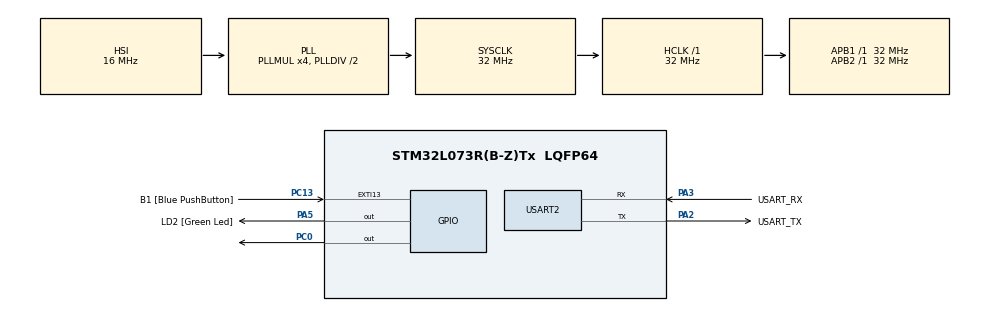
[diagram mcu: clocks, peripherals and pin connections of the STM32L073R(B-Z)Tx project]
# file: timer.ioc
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Mcu.Family=STM32L0
Mcu.Name=STM32L073R(B-Z)Tx
Mcu.Package=LQFP64
NVIC.EXTI4_15_IRQn=true\:0\:0\:false\:false\:true\:true\:true
NVIC.TIM2_IRQn=true\:0\:0\:false\:false\:true\:true\:true
NVIC.TIM3_IRQn=true\:0\:0\:false\:false\:true\:true\:true
PA13.GPIO_Label=TMS
PA13.Mode=Serial_Wire
PA13.Signal=SYS_SWDIO
PA14.GPIO_Label=TCK
PA14.Mode=Serial_Wire
PA14.Signal=SYS_SWCLK
PA2.GPIO_Label=USART_TX
PA2.Mode=Asynchronous
PA2.Signal=USART2_TX
PA3.GPIO_Label=USART_RX
PA3.Mode=Asynchronous
PA3.Signal=USART2_RX
PA5.GPIO_Label=LD2 [Green Led]
PA5.GPIO_PuPd=GPIO_NOPULL
PA5.PinState=GPIO_PIN_RESET
PA5.Signal=GPIO_Output
PC0.PinState=GPIO_PIN_RESET
PC0.Signal=GPIO_Output
PC13.GPIO_Label=B1 [Blue PushButton]
PC13.GPIO_ModeDefaultEXTI=GPIO_MODE_IT_FALLING
PC13.Signal=GPXTI13
PC14-OSC32_IN.Mode=LSE-External-Oscillator
PC14-OSC32_IN.Signal=RCC_OSC32_IN
PC15-OSC32_OUT.Mode=LSE-External-Oscillator
PC15-OSC32_OUT.Signal=RCC_OSC32_OUT
PH0-OSC_IN.GPIO_Label=MCO
PH0-OSC_IN.Mode=HSE-External-Clock-Source
PH0-OSC_IN.Signal=RCC_OSC_IN
ProjectManager.HeapSize=0x200
ProjectManager.StackSize=0x400
ProjectManager.TargetToolchain=STM32CubeIDE
RCC.AHBFreq_Value=32000000
RCC.APB1Freq_Value=32000000
RCC.APB1TimFreq_Value=32000000
RCC.APB2Freq_Value=32000000
RCC.APB2TimFreq_Value=32000000
RCC.HCLKFreq_Value=32000000
RCC.HSE_VALUE=8000000
RCC.HSI16_VALUE=16000000
RCC.HSI48_VALUE=48000000
RCC.HSI_VALUE=16000000
RCC.MSI_VALUE=2097000
RCC.PLLMUL=RCC_PLLMUL_4
RCC.SYSCLKFreq_VALUE=32000000
RCC.SYSCLKSource=RCC_SYSCLKSOURCE_PLLCLK
RCC.TimPrescaler=SYSTICK_CLKSOURCE_HCLK_DIV8
RCC.VCOOutputFreq_Value=64000000
TIM2.Period=1999
TIM2.Prescaler=31999
TIM2.TIM_MasterOutputTrigger=TIM_TRGO_RESET
TIM3.Period=29999
TIM3.Prescaler=63999
USART2.VirtualMode-Asynchronous=VM_ASYNC
VP_TIM2_VS_ClockSourceINT.Mode=Internal
VP_TIM3_VS_ClockSourceINT.Mode=Internal
board=NUCLEO-L073RZ

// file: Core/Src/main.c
/* USER CODE BEGIN Header */
/**
  ******************************************************************************
  * @file           : main.c
  * @brief          : Main program body
  ******************************************************************************
  * @attention
  *
  * <h2><center>&copy; Copyright (c) 2020 STMicroelectronics.
  * All rights reserved.</center></h2>
  *
  * This software component is licensed by ST under BSD 3-Clause license,
  * the "License"; You may not use this file except in compliance with the
  * License. You may obtain a copy of the License at:
  *                        opensource.org/licenses/BSD-3-Clause
  *
  ******************************************************************************
  */
/* USER CODE END Header */

#include "main.h"
#include "math.h"

/* USER CODE BEGIN PTD */
//#define Mode test1
/* USER CODE END PTD */

TIM_HandleTypeDef htim2;
TIM_HandleTypeDef htim3;

UART_HandleTypeDef huart2;

/* USER CODE BEGIN PV */
float Humitide_sol[40] ={100, 95, 82, 69, 66.7, 66.5, 64.5, 63, 62.9, 62.8,\
		62.8, 62.8, 62.8, 62.8, 62.8, 62.7, 62.6, 62.5, 62.4, 62.3,\
		62.2, 62.1, 61.5, 61.4, 60.9, 60.7, 60.3, 60.2, 60.2, 60.3, 60.1,\
		60, 60, 62, 69, 75, 85, 92, 93};

int seuil[3][2] ={ {30, 60},{45, 75},{60, 150} };
int Humitide_begin;
int DH;								//difference of humidity
int p_stade_1;
int p_stade_2;
int p_stade_3;
int p_stade_4;
int time_irri = 5;					// irrigation time: minus
int seuil_1;
int seuil_2;
double real_time_irri;
int sample_1 = 3;
int sample_2 = 4;
int sample_3 = 5;

float Humitide_fin_stade1;
float Humitide_fin_stade2;
float Humitide_fin_stade3;

double y=0;
int x=0;
int Tau=0;
int end=0;
int seuil_90=90;

/**  Global variable  */
int i = 0;
int flag = 0;
int a = 0;						//number of the reference
int seuil_l;
int seuil_h;
int second = 0;
int min = 0;
int cnt = 0;
int cnt2 = 0;
int period;
/* USER CODE END PV */

void SystemClock_Config(void);
static void MX_GPIO_Init(void);
static void MX_USART2_UART_Init(void);
static void MX_TIM2_Init(void);
static void MX_TIM3_Init(void);
/* USER CODE BEGIN PFP */
static void MY_Period_Init(int time_irrigation);
static void MX_TIM2_Init_stade_1(void);
static void MX_TIM2_Init_stade_2(void);
static void MX_TIM2_Init_stade_3(void);
static void MX_TIM2_Init_30s(void);
void irrigation(int seuil_low, int seuil_high);

/* USER CODE END PFP */

int main(void)
{

  /* MCU Configuration--------------------------------------------------------*/

  /* Reset of all peripherals, Initializes the Flash interface and the Systick. */

  HAL_Init();

  /* Configure the system clock */
  SystemClock_Config();

  /* Initialize all configured peripherals */
  MX_GPIO_Init();
  MX_USART2_UART_Init();
  MX_TIM2_Init();
  MX_TIM3_Init();
  /* USER CODE BEGIN 2 */
  MY_Period_Init(time_irri);
  HAL_GPIO_WritePin(GPIOC,GPIO_PIN_0,RESET);
  HAL_GPIO_WritePin(LD2_GPIO_Port, LD2_Pin, RESET);
  MX_TIM2_Init_stade_1();
  TIM2->SR &= ~TIM_SR_UIF;						// clear update interrupt Flag
  TIM3->SR &= ~TIM_SR_UIF;						// clear update interrupt Flag
  HAL_TIM_Base_Start_IT(&htim2);
  HAL_TIM_Base_Start_IT(&htim3);
  HAL_GPIO_WritePin(GPIOC,GPIO_PIN_0,SET);
  /* USER CODE END 2 */

  /* Infinite loop */
  /* USER CODE BEGIN WHILE */
  seuil_l = seuil[a][0];
  seuil_h = seuil[a][1];

//  Humitide_begin = 90;                           // testing
  Humitide_begin = Humitide_sol[i];
  DH = Humitide_begin - seuil_h;				 // 40

  while (1)
  {
    /* USER CODE END WHILE */

    /* USER CODE BEGIN 3 */

	irrigation(seuil_l, seuil_h);

  }
  /* USER CODE END 3 */
}

void SystemClock_Config(void)
{
  RCC_OscInitTypeDef RCC_OscInitStruct = {0};
  RCC_ClkInitTypeDef RCC_ClkInitStruct = {0};
  RCC_PeriphCLKInitTypeDef PeriphClkInit = {0};

  /** Configure the main internal regulator output voltage
  */
  __HAL_PWR_VOLTAGESCALING_CONFIG(PWR_REGULATOR_VOLTAGE_SCALE1);
  /** Initializes the CPU, AHB and APB busses clocks
  */
  RCC_OscInitStruct.OscillatorType = RCC_OSCILLATORTYPE_HSI;
  RCC_OscInitStruct.HSIState = RCC_HSI_ON;
  RCC_OscInitStruct.HSICalibrationValue = RCC_HSICALIBRATION_DEFAULT;
  RCC_OscInitStruct.PLL.PLLState = RCC_PLL_ON;
  RCC_OscInitStruct.PLL.PLLSource = RCC_PLLSOURCE_HSI;
  RCC_OscInitStruct.PLL.PLLMUL = RCC_PLLMUL_4;
  RCC_OscInitStruct.PLL.PLLDIV = RCC_PLLDIV_2;
  if (HAL_RCC_OscConfig(&RCC_OscInitStruct) != HAL_OK)
  {
    Error_Handler();
  }
  /** Initializes the CPU, AHB and APB busses clocks
  */
  RCC_ClkInitStruct.ClockType = RCC_CLOCKTYPE_HCLK|RCC_CLOCKTYPE_SYSCLK
                              |RCC_CLOCKTYPE_PCLK1|RCC_CLOCKTYPE_PCLK2;
  RCC_ClkInitStruct.SYSCLKSource = RCC_SYSCLKSOURCE_PLLCLK;
  RCC_ClkInitStruct.AHBCLKDivider = RCC_SYSCLK_DIV1;
  RCC_ClkInitStruct.APB1CLKDivider = RCC_HCLK_DIV1;
  RCC_ClkInitStruct.APB2CLKDivider = RCC_HCLK_DIV1;

  if (HAL_RCC_ClockConfig(&RCC_ClkInitStruct, FLASH_LATENCY_1) != HAL_OK)
  {
    Error_Handler();
  }
  PeriphClkInit.PeriphClockSelection = RCC_PERIPHCLK_USART2;
  PeriphClkInit.Usart2ClockSelection = RCC_USART2CLKSOURCE_PCLK1;
  if (HAL_RCCEx_PeriphCLKConfig(&PeriphClkInit) != HAL_OK)
  {
    Error_Handler();
  }
}

static void MX_TIM2_Init(void)
{

  TIM_ClockConfigTypeDef sClockSourceConfig = {0};
  TIM_MasterConfigTypeDef sMasterConfig = {0};

  htim2.Instance = TIM2;
  htim2.Init.Prescaler = 31999;
  htim2.Init.CounterMode = TIM_COUNTERMODE_UP;
  htim2.Init.Period = p_stade_4*1000-1;
  htim2.Init.ClockDivision = TIM_CLOCKDIVISION_DIV1;
  htim2.Init.AutoReloadPreload = TIM_AUTORELOAD_PRELOAD_DISABLE;
  if (HAL_TIM_Base_Init(&htim2) != HAL_OK)
  {
    Error_Handler();
  }
  sClockSourceConfig.ClockSource = TIM_CLOCKSOURCE_INTERNAL;
  if (HAL_TIM_ConfigClockSource(&htim2, &sClockSourceConfig) != HAL_OK)
  {
    Error_Handler();
  }
  sMasterConfig.MasterOutputTrigger = TIM_TRGO_RESET;
  sMasterConfig.MasterSlaveMode = TIM_MASTERSLAVEMODE_DISABLE;
  if (HAL_TIMEx_MasterConfigSynchronization(&htim2, &sMasterConfig) != HAL_OK)
  {
    Error_Handler();
  }

}

static void MX_TIM3_Init(void)
{

  TIM_ClockConfigTypeDef sClockSourceConfig = {0};
  TIM_MasterConfigTypeDef sMasterConfig = {0};

  htim3.Instance = TIM3;
  htim3.Init.Prescaler = 63999;
  htim3.Init.CounterMode = TIM_COUNTERMODE_UP;
  htim3.Init.Period = 499;
  htim3.Init.ClockDivision = TIM_CLOCKDIVISION_DIV1;
  htim3.Init.AutoReloadPreload = TIM_AUTORELOAD_PRELOAD_DISABLE;
  if (HAL_TIM_Base_Init(&htim3) != HAL_OK)
  {
    Error_Handler();
  }
  sClockSourceConfig.ClockSource = TIM_CLOCKSOURCE_INTERNAL;
  if (HAL_TIM_ConfigClockSource(&htim3, &sClockSourceConfig) != HAL_OK)
  {
    Error_Handler();
  }
  sMasterConfig.MasterOutputTrigger = TIM_TRGO_RESET;
  sMasterConfig.MasterSlaveMode = TIM_MASTERSLAVEMODE_DISABLE;
  if (HAL_TIMEx_MasterConfigSynchronization(&htim3, &sMasterConfig) != HAL_OK)
  {
    Error_Handler();
  }

}

static void MX_USART2_UART_Init(void)
{

  huart2.Instance = USART2;
  huart2.Init.BaudRate = 115200;
  huart2.Init.WordLength = UART_WORDLENGTH_8B;
  huart2.Init.StopBits = UART_STOPBITS_1;
  huart2.Init.Parity = UART_PARITY_NONE;
  huart2.Init.Mode = UART_MODE_TX_RX;
  huart2.Init.HwFlowCtl = UART_HWCONTROL_NONE;
  huart2.Init.OverSampling = UART_OVERSAMPLING_16;
  huart2.Init.OneBitSampling = UART_ONE_BIT_SAMPLE_DISABLE;
  huart2.AdvancedInit.AdvFeatureInit = UART_ADVFEATURE_NO_INIT;
  if (HAL_UART_Init(&huart2) != HAL_OK)
  {
    Error_Handler();
  }

}

static void MX_GPIO_Init(void)
{
  GPIO_InitTypeDef GPIO_InitStruct = {0};

  /* GPIO Ports Clock Enable */
  __HAL_RCC_GPIOC_CLK_ENABLE();
  __HAL_RCC_GPIOH_CLK_ENABLE();
  __HAL_RCC_GPIOA_CLK_ENABLE();

  /*Configure GPIO pin Output Level */
  HAL_GPIO_WritePin(GPIOC, GPIO_PIN_0, GPIO_PIN_RESET);

  /*Configure GPIO pin Output Level */
  HAL_GPIO_WritePin(LD2_GPIO_Port, LD2_Pin, GPIO_PIN_RESET);

  /*Configure GPIO pin : B1_Pin */
  GPIO_InitStruct.Pin = B1_Pin;
  GPIO_InitStruct.Mode = GPIO_MODE_IT_FALLING;
  GPIO_InitStruct.Pull = GPIO_NOPULL;
  HAL_GPIO_Init(B1_GPIO_Port, &GPIO_InitStruct);

  /*Configure GPIO pin : PC0 */
  GPIO_InitStruct.Pin = GPIO_PIN_0;
  GPIO_InitStruct.Mode = GPIO_MODE_OUTPUT_PP;
  GPIO_InitStruct.Pull = GPIO_NOPULL;
  GPIO_InitStruct.Speed = GPIO_SPEED_FREQ_LOW;
  HAL_GPIO_Init(GPIOC, &GPIO_InitStruct);

  /*Configure GPIO pin : LD2_Pin */
  GPIO_InitStruct.Pin = LD2_Pin;
  GPIO_InitStruct.Mode = GPIO_MODE_OUTPUT_PP;
  GPIO_InitStruct.Pull = GPIO_NOPULL;
  GPIO_InitStruct.Speed = GPIO_SPEED_FREQ_LOW;
  HAL_GPIO_Init(LD2_GPIO_Port, &GPIO_InitStruct);

  /* EXTI interrupt init*/
  HAL_NVIC_SetPriority(EXTI4_15_IRQn, 0, 0);
  HAL_NVIC_EnableIRQ(EXTI4_15_IRQn);

}

/* USER CODE BEGIN 4 */
/**
  * @brief sampling period Initialization Function
  * @details Initialize the first stage, the fourth stage sampling period,
  * 	     sampling period stage 4 = 2s
  * @param time_irrigation
  * @retval None
  */
static void MY_Period_Init(int time_irrigation)
{
	p_stade_1 = (time_irrigation*60*2)/(5*3);			// 3 samples
//	p_stade_2 = 10;										//test
//	p_stade_3 = 200;									//test
	p_stade_4 = 2;

	if(p_stade_1 > 60)
	{
		cnt=p_stade_1/60;
		cnt2=p_stade_1%60;
		period = p_stade_1;
		p_stade_1 =60;
	}

}

/**
  * @brief TIM2 stade 1 Initialization Function
  * @param sampling period:p_stade_1
  * @retval None
  */
static void MX_TIM2_Init_stade_1(void)
{

  /* USER CODE BEGIN TIM2_Init 0 */

  /* USER CODE END TIM2_Init 0 */

  TIM_ClockConfigTypeDef sClockSourceConfig = {0};
  TIM_MasterConfigTypeDef sMasterConfig = {0};

  /* USER CODE BEGIN TIM2_Init 1 */

  /* USER CODE END TIM2_Init 1 */
  htim2.Instance = TIM2;
  htim2.Init.Prescaler = 31999;
  htim2.Init.CounterMode = TIM_COUNTERMODE_UP;
  htim2.Init.Period = 1000*p_stade_1-1;
  htim2.Init.ClockDivision = TIM_CLOCKDIVISION_DIV1;
  htim2.Init.AutoReloadPreload = TIM_AUTORELOAD_PRELOAD_DISABLE;
  if (HAL_TIM_Base_Init(&htim2) != HAL_OK)
  {
    Error_Handler();
  }
  sClockSourceConfig.ClockSource = TIM_CLOCKSOURCE_INTERNAL;
  if (HAL_TIM_ConfigClockSource(&htim2, &sClockSourceConfig) != HAL_OK)
  {
    Error_Handler();
  }
  sMasterConfig.MasterOutputTrigger = TIM_TRGO_RESET;
  sMasterConfig.MasterSlaveMode = TIM_MASTERSLAVEMODE_DISABLE;
  if (HAL_TIMEx_MasterConfigSynchronization(&htim2, &sMasterConfig) != HAL_OK)
  {
    Error_Handler();
  }
  /* USER CODE BEGIN TIM2_Init 2 */

  /* USER CODE END TIM2_Init 2 */

}

/**
  * @brief TIM2 stade 2 Initialization Function
  * @param sampling period:p_stade_2
  * @retval None
  */
static void MX_TIM2_Init_stade_2(void)
{

  /* USER CODE BEGIN TIM2_Init 0 */

  /* USER CODE END TIM2_Init 0 */

  TIM_ClockConfigTypeDef sClockSourceConfig = {0};
  TIM_MasterConfigTypeDef sMasterConfig = {0};

  /* USER CODE BEGIN TIM2_Init 1 */

  /* USER CODE END TIM2_Init 1 */
  htim2.Instance = TIM2;
  htim2.Init.Prescaler = 31999;
  htim2.Init.CounterMode = TIM_COUNTERMODE_UP;
  htim2.Init.Period = 1000*p_stade_2-1;
  htim2.Init.ClockDivision = TIM_CLOCKDIVISION_DIV1;
  htim2.Init.AutoReloadPreload = TIM_AUTORELOAD_PRELOAD_DISABLE;
  if (HAL_TIM_Base_Init(&htim2) != HAL_OK)
  {
    Error_Handler();
  }
  sClockSourceConfig.ClockSource = TIM_CLOCKSOURCE_INTERNAL;
  if (HAL_TIM_ConfigClockSource(&htim2, &sClockSourceConfig) != HAL_OK)
  {
    Error_Handler();
  }
  sMasterConfig.MasterOutputTrigger = TIM_TRGO_RESET;
  sMasterConfig.MasterSlaveMode = TIM_MASTERSLAVEMODE_DISABLE;
  if (HAL_TIMEx_MasterConfigSynchronization(&htim2, &sMasterConfig) != HAL_OK)
  {
    Error_Handler();
  }
  /* USER CODE BEGIN TIM2_Init 2 */

  /* USER CODE END TIM2_Init 2 */

}

/**
  * @brief TIM2 stade 3 Initialization Function
  * @param sampling period:p_stade_3
  * @retval None
  */
static void MX_TIM2_Init_stade_3(void)
{

  /* USER CODE BEGIN TIM2_Init 0 */

  /* USER CODE END TIM2_Init 0 */

  TIM_ClockConfigTypeDef sClockSourceConfig = {0};
  TIM_MasterConfigTypeDef sMasterConfig = {0};

  /* USER CODE BEGIN TIM2_Init 1 */

  /* USER CODE END TIM2_Init 1 */
  htim2.Instance = TIM2;
  htim2.Init.Prescaler = 31999;
  htim2.Init.CounterMode = TIM_COUNTERMODE_UP;
  htim2.Init.Period = 1000*p_stade_3-1;
  htim2.Init.ClockDivision = TIM_CLOCKDIVISION_DIV1;
  htim2.Init.AutoReloadPreload = TIM_AUTORELOAD_PRELOAD_DISABLE;
  if (HAL_TIM_Base_Init(&htim2) != HAL_OK)
  {
    Error_Handler();
  }
  sClockSourceConfig.ClockSource = TIM_CLOCKSOURCE_INTERNAL;
  if (HAL_TIM_ConfigClockSource(&htim2, &sClockSourceConfig) != HAL_OK)
  {
    Error_Handler();
  }
  sMasterConfig.MasterOutputTrigger = TIM_TRGO_RESET;
  sMasterConfig.MasterSlaveMode = TIM_MASTERSLAVEMODE_DISABLE;
  if (HAL_TIMEx_MasterConfigSynchronization(&htim2, &sMasterConfig) != HAL_OK)
  {
    Error_Handler();
  }
  /* USER CODE BEGIN TIM2_Init 2 */

  /* USER CODE END TIM2_Init 2 */

}

/**
  * @brief TIM2 Initialization Function
  * sampling period : 30 seconds
  * @param Period = 29999
  * @retval None
  */
static void MX_TIM2_Init_30s(void)
{

  /* USER CODE BEGIN TIM2_Init 0 */

  /* USER CODE END TIM2_Init 0 */

  TIM_ClockConfigTypeDef sClockSourceConfig = {0};
  TIM_MasterConfigTypeDef sMasterConfig = {0};

  /* USER CODE BEGIN TIM2_Init 1 */

  /* USER CODE END TIM2_Init 1 */
  htim2.Instance = TIM2;
  htim2.Init.Prescaler = 31999;
  htim2.Init.CounterMode = TIM_COUNTERMODE_UP;
  htim2.Init.Period = 29999;
  htim2.Init.ClockDivision = TIM_CLOCKDIVISION_DIV1;
  htim2.Init.AutoReloadPreload = TIM_AUTORELOAD_PRELOAD_DISABLE;
  if (HAL_TIM_Base_Init(&htim2) != HAL_OK)
  {
    Error_Handler();
  }
  sClockSourceConfig.ClockSource = TIM_CLOCKSOURCE_INTERNAL;
  if (HAL_TIM_ConfigClockSource(&htim2, &sClockSourceConfig) != HAL_OK)
  {
    Error_Handler();
  }
  sMasterConfig.MasterOutputTrigger = TIM_TRGO_RESET;
  sMasterConfig.MasterSlaveMode = TIM_MASTERSLAVEMODE_DISABLE;
  if (HAL_TIMEx_MasterConfigSynchronization(&htim2, &sMasterConfig) != HAL_OK)
  {
    Error_Handler();
  }
  /* USER CODE BEGIN TIM2_Init 2 */

  /* USER CODE END TIM2_Init 2 */

}

/**
  * @brief  control part of the irrigation
  * @brief 	Handling transitions between different stages
  * @param seuil_low, seuil_high
  *
  *
  */

void irrigation(int seuil_low, int seuil_high)
{
	seuil_1 = DH*0.15+seuil_h;
	seuil_2 = DH*0.05+seuil_h;

	/** read a new data from the sensor */
 	if (flag == 0)
	{
		flag = 1;

		if (i < sample_1+sample_2+sample_3 && Humitide_sol[i] <= seuil_h)
		{
			HAL_GPIO_WritePin(GPIOC,GPIO_PIN_0,RESET);
			HAL_TIM_Base_Stop_IT(&htim2);
			Tau = x/5;
			p_stade_1 = Tau/3;
			real_time_irri = (double)min + (second/60.0);
			cnt = 0;
			end = 1;
		}

		if (i == sample_1)							//swap to stade2
		{
			Humitide_fin_stade1 = Humitide_sol[i];
			HAL_TIM_Base_Stop_IT(&htim2);
			cnt = 0;

			if( Humitide_fin_stade1 >= seuil_1-1 && Humitide_fin_stade1 <= seuil_1+1 )
			{
				p_stade_2 = (time_irri*60)/(5*4);

			}
			else
			{
				x = min*60 + second;
				y = log(DH/(Humitide_fin_stade1-seuil_h));
				Tau = x/y;
				p_stade_2 = Tau/4;

				if(p_stade_2 > 60)
				{
					cnt=p_stade_2/60;
					cnt2=p_stade_2%60;
					period = p_stade_2;
					p_stade_2 =60;
				}
			}

			MX_TIM2_Init_stade_2();
			TIM2->SR &= ~TIM_SR_UIF;
			HAL_TIM_Base_Start_IT(&htim2);
		}
		else if (i == sample_1+sample_2)			//swap to stade3
		{
			Humitide_fin_stade2 = Humitide_sol[i];
			HAL_TIM_Base_Stop_IT(&htim2);
			cnt = 0;

			if( Humitide_fin_stade2 >= seuil_2-0.5 && Humitide_fin_stade1 <= seuil_2+0.5 )
			{
				p_stade_3 = (time_irri*60)/(5*5);
			}
			else
			{
				x = min*60 + second;
				y = log(DH/(Humitide_fin_stade2-seuil_h));
				Tau = x/y;
				p_stade_3 = Tau/5;

				if(p_stade_3 > 60)
				{
					cnt=p_stade_3/60;
					cnt2=p_stade_3%60;
					period = p_stade_3;
					p_stade_3 =60;
				}
			}

			MX_TIM2_Init_stade_3();
			TIM2->SR &= ~TIM_SR_UIF;
			HAL_TIM_Base_Start_IT(&htim2);
		}
		else if (i == sample_1+sample_2+sample_3 )	//swap to stade4
		{
			Humitide_fin_stade3 = Humitide_sol[i];
			HAL_TIM_Base_Stop_IT(&htim2);
			cnt = 0;
			MX_TIM2_Init();
			TIM2->SR &= ~TIM_SR_UIF;
			HAL_TIM_Base_Start_IT(&htim2);
		}
		else if (i > sample_1+sample_2+sample_3 && Humitide_sol[i] <= seuil_h && end == 0)
		{
			HAL_GPIO_WritePin(GPIOC,GPIO_PIN_0,RESET);
			HAL_TIM_Base_Stop_IT(&htim2);

			real_time_irri = (double)min + (second/60.0);
			time_irri = real_time_irri;

			x = min*60 + second;
			Tau = x/5;
			p_stade_1 = (Tau*2)/3;
			end = 1;

			MX_TIM2_Init_30s();
			TIM2->SR &= ~TIM_SR_UIF;
			HAL_TIM_Base_Start_IT(&htim2);

		}
		else if (end == 1 && Humitide_sol[i] >= seuil_90)
		{
			HAL_GPIO_WritePin(GPIOC,GPIO_PIN_0,SET);	//LED on

			// prepare for another loop
			Humitide_fin_stade1 = 0;
			Humitide_fin_stade2 = 0;
			Humitide_fin_stade3 = 0;
			min = 0;

			i = 0;
			end = 0;
			// restart to read data from sensor
			if(p_stade_1 > 60)
			{
				cnt=p_stade_1/60;
				cnt2=p_stade_1%60;
				period = p_stade_1;
				p_stade_1 =60;
			}

			MX_TIM2_Init_stade_1();
			TIM2->SR &= ~TIM_SR_UIF;
			HAL_TIM_Base_Start_IT(&htim2);

		}
		else
		{
			Error_Handler();
		}

	}

}

/* USER CODE END 4 */

void Error_Handler(void)
{
}

/************************ (C) COPYRIGHT STMicroelectronics *****END OF FILE****/
